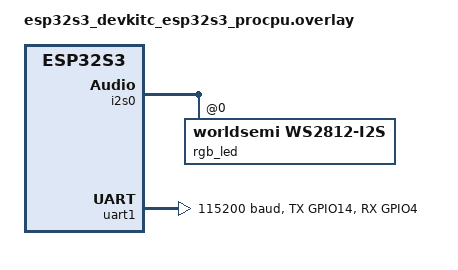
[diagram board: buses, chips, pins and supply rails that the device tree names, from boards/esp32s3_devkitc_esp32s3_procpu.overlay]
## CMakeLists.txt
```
# Copyright (c) 2026 HokyKwan <hokykwan0@gmail.com>
#
# SPDX-License-Identifier: Apache-2.0

cmake_minimum_required(VERSION 3.20.0)

find_package(Zephyr REQUIRED HINTS $ENV{ZEPHYR_BASE})
project(antidash)

target_include_directories(app PRIVATE inc)
target_sources(app PRIVATE
    src/main.c
    src/led.c
    src/led_svc.c
    src/ble.c
    src/rader.c
)
```

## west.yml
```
# Copyright (c) 2026 HokyKwan <hokykwan0@gmail.com>
#
# SPDX-License-Identifier: Apache-2.0

manifest:
  self:
    path: apps/AntiDash

  remotes:
    - name: zephyrproject-rtos
      url-base: https://github.com/zephyrproject-rtos

  projects:
    - name: zephyr
      remote: zephyrproject-rtos
      revision: 3e8f38faf93704249745dbc475052848ce39fdaf
      import: true
```

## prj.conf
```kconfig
# Copyright (c) 2026 HokyKwan <hokykwan0@gmail.com>
#
# SPDX-License-Identifier: Apache-2.0

CONFIG_LOG=y

CONFIG_ESPTOOLPY_FLASHSIZE_16MB=y
CONFIG_ESP_SPIRAM=y
CONFIG_SPIRAM_MODE_OCT=y

CONFIG_LED_STRIP=y
CONFIG_LED_STRIP_LOG_LEVEL_DBG=y

CONFIG_BT=y
CONFIG_BT_PERIPHERAL=y
CONFIG_BT_DEVICE_NAME="Antidash"
CONFIG_BT_MAX_CONN=1
CONFIG_MAIN_STACK_SIZE=4096

CONFIG_UART_INTERRUPT_DRIVEN=y
```

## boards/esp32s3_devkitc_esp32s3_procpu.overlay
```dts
/*
 * Copyright (c) 2026 HokyKwan <hokykwan0@gmail.com>
 *
 * SPDX-License-Identifier: Apache-2.0
 */

#include <zephyr/dt-bindings/led/led.h>
#include <zephyr/dt-bindings/pinctrl/esp32s3-pinctrl.h>

/ {
    aliases {
        rgb-led = &rgb_led;
        rader-uart = &uart1;
    };
};

&flash0 {
    reg = <0x0 DT_SIZE_M(16)>;
    ranges = <0x0 0x0 DT_SIZE_M(16)>;
};

&psram0 {
    size = <DT_SIZE_M(8)>;
};

&i2s0_default {
    group1 {
        pinmux = <I2S0_O_SD_GPIO48>;
    };
};

i2s_led: &i2s0 {
    status = "okay";
    dmas = <&dma 3>;
    dma-names = "tx";

    rgb_led: ws2812@0 {
        compatible = "worldsemi,ws2812-i2s";
        reg = <0>;
        chain-length = <1>;
        color-mapping = <LED_COLOR_ID_GREEN
                            LED_COLOR_ID_RED
                            LED_COLOR_ID_BLUE>;
        reset-delay = <500>;
    };
};

&dma {
    status = "okay";
};

&pinctrl {
    uart1_default: uart1_default {
        group1 {
            pinmux = <UART1_TX_GPIO14>;
            output-high;
        };

        group2 {
            pinmux = <UART1_RX_GPIO4>;
            bias-pull-up;
        };
    };
};

&uart1 {
    status = "okay";
    current-speed = <115200>;
    pinctrl-0 = <&uart1_default>;
    pinctrl-names = "default";
};
```

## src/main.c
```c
/*
 * Copyright (c) 2017 Linaro Limited
 * Copyright (c) 2018 Intel Corporation
 * Copyright (c) 2024 TOKITA Hiroshi
 *
 * SPDX-License-Identifier: Apache-2.0
 */

#include <stdio.h>

#include <zephyr/kernel.h>
#include <zephyr/logging/log.h>

#include "ble.h"
#include "led.h"
#include "led_svc.h"
#include "rader.h"

LOG_MODULE_REGISTER(main);

static const struct ad_led_svc_cb led_cb = {
    .on_rgb = ad_led_set_rgb,
};

static void on_rader_rx(const uint8_t *data, size_t len)
{
    uint8_t rgb[3];

    LOG_INF("[MAIN] received %u bytes: %.*s", (unsigned int)len, (int)len, data);

    if (len > 0U) {
        ad_rader_send(data, len);
        ad_rader_send((const uint8_t *)"\r\n", 2);
    }

    if ((len == 6U) &&
        (sscanf((const char *)data, "%2hhx%2hhx%2hhx", &rgb[0], &rgb[1], &rgb[2]) == 3)) {
        ad_led_svc_notify(rgb[0], rgb[1], rgb[2]);
    }
}

int main(void)
{
    int err = ad_led_svc_init(&led_cb);
    if (err) {
        LOG_ERR("[MAIN] led service init failed (err %d)", err);
    }

    err = ad_ble_init();
    if (err) {
        LOG_ERR("[MAIN] bluetooth init failed (err %d)", err);
    }

    err = ad_rader_init(on_rader_rx);
    if (err) {
        LOG_ERR("[MAIN] radar init failed (err %d)", err);
    }

    return 0;
}
```

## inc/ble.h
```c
/*
 * Copyright (c) 2026 HokyKwan <hokykwan0@gmail.com>
 *
 * SPDX-License-Identifier: Apache-2.0
 */

#ifndef BLE_H
#define BLE_H

int ad_ble_init(void);

#endif
```

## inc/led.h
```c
/*
 * Copyright (c) 2026 HokyKwan <hokykwan0@gmail.com>
 *
 * SPDX-License-Identifier: Apache-2.0
 */

#ifndef LED_H
#define LED_H

#include <stdint.h>

void ad_led_set_rgb(uint8_t r, uint8_t g, uint8_t b);

#endif
```

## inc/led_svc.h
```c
/*
 * Copyright (c) 2026 HokyKwan <hokykwan0@gmail.com>
 *
 * SPDX-License-Identifier: Apache-2.0
 */

#ifndef LED_SVC_H
#define LED_SVC_H

#include <stdint.h>

struct ad_led_svc_cb {
    void (*on_rgb)(uint8_t r, uint8_t g, uint8_t b);
};

int ad_led_svc_init(const struct ad_led_svc_cb *cb);

int ad_led_svc_notify(uint8_t r, uint8_t g, uint8_t b);

#endif
```

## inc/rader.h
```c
/*
 * Copyright (c) 2026 HokyKwan <hokykwan0@gmail.com>
 *
 * SPDX-License-Identifier: Apache-2.0
 */

#ifndef RADER_H
#define RADER_H

#include <stddef.h>
#include <stdint.h>

typedef void (*rader_rx_cb_t)(const uint8_t *data, size_t len);

int ad_rader_init(rader_rx_cb_t on_rx);

int ad_rader_send(const uint8_t *data, size_t len);

#endif
```

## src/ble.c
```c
/*
 * Copyright (c) 2026 HokyKwan <hokykwan0@gmail.com>
 *
 * SPDX-License-Identifier: Apache-2.0
 */

#include "ble.h"

#include <zephyr/bluetooth/bluetooth.h>
#include <zephyr/bluetooth/hci.h>
#include <zephyr/logging/log.h>

LOG_MODULE_REGISTER(ble);

#define DEVICE_NAME CONFIG_BT_DEVICE_NAME
#define DEVICE_NAME_LEN (sizeof(DEVICE_NAME) - 1)

static const struct bt_data ad[] = {
    BT_DATA_BYTES(BT_DATA_FLAGS, (BT_LE_AD_GENERAL | BT_LE_AD_NO_BREDR)),
    BT_DATA(BT_DATA_NAME_COMPLETE, DEVICE_NAME, DEVICE_NAME_LEN),
};

int ad_ble_init(void)
{
    int err;

    err = bt_enable(NULL);
    if (err) {
        LOG_ERR("[BLE] init failed (err %d)", err);
        return err;
    }

    LOG_INF("[BLE] initialized");

    err = bt_le_adv_start(BT_LE_ADV_CONN_FAST_1, ad, ARRAY_SIZE(ad), NULL, 0);
    if (err) {
        LOG_ERR("[BLE] advertising failed to start (err %d)", err);
        return err;
    }

    LOG_INF("[BLE] advertising started as %s", DEVICE_NAME);
    return 0;
}
```

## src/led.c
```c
/*
 * Copyright (c) 2026 HokyKwan <hokykwan0@gmail.com>
 *
 * SPDX-License-Identifier: Apache-2.0
 */

#include "led.h"

#include <zephyr/kernel.h>
#include <zephyr/device.h>
#include <zephyr/drivers/led_strip.h>
#include <zephyr/logging/log.h>
#include <zephyr/sys/util.h>

LOG_MODULE_REGISTER(led);

#define STRIP_NODE DT_ALIAS(rgb_led)

#if DT_NODE_HAS_PROP(DT_ALIAS(rgb_led), chain_length)
#define STRIP_NUM_PIXELS DT_PROP(DT_ALIAS(rgb_led), chain_length)
#else
#error Unable to determine length of LED strip
#endif

#define RGB(_r, _g, _b) { .r = (_r), .g = (_g), .b = (_b) }

static struct led_rgb pixels[STRIP_NUM_PIXELS];
static struct led_rgb current = RGB(0x00, 0x00, 0x00);
static const struct device *const strip = DEVICE_DT_GET(STRIP_NODE);
static K_MUTEX_DEFINE(lock);

static void set_rgb(void)
{
    int err;

    for (size_t i = 0; i < ARRAY_SIZE(pixels); i++) {
        pixels[i] = current;
    }

    err = led_strip_update_rgb(strip, pixels, STRIP_NUM_PIXELS);
    if (err != 0) {
        LOG_ERR("[LED] couldn't update strip: %d", err);
    }
}

void ad_led_set_rgb(uint8_t r, uint8_t g, uint8_t b)
{
    if (!device_is_ready(strip)) {
        LOG_ERR("[LED] strip device %s is not ready", strip->name);
        return;
    }

    k_mutex_lock(&lock, K_FOREVER);
    current.r = r;
    current.g = g;
    current.b = b;
    set_rgb();
    k_mutex_unlock(&lock);
}
```

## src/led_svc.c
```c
/*
 * Copyright (c) 2026 HokyKwan <hokykwan0@gmail.com>
 *
 * SPDX-License-Identifier: Apache-2.0
 */

#include "led_svc.h"

#include <errno.h>

#include <zephyr/bluetooth/gatt.h>
#include <zephyr/bluetooth/uuid.h>
#include <zephyr/logging/log.h>

LOG_MODULE_REGISTER(led_svc);

#define BT_UUID_LED_SERVICE_VAL \
    BT_UUID_128_ENCODE(0x6e400001, 0xb5a3, 0xf393, 0xe0a9, 0xe50e24dcca9e)
#define BT_UUID_LED_RGB_VAL \
    BT_UUID_128_ENCODE(0x6e400002, 0xb5a3, 0xf393, 0xe0a9, 0xe50e24dcca9e)

static const struct bt_uuid_128 led_svc_uuid = BT_UUID_INIT_128(BT_UUID_LED_SERVICE_VAL);
static const struct bt_uuid_128 led_rgb_uuid = BT_UUID_INIT_128(BT_UUID_LED_RGB_VAL);

static uint8_t rgb[3];
static struct ad_led_svc_cb led_cb;

static int on_notify(uint8_t r, uint8_t g, uint8_t b);

static ssize_t on_read(struct bt_conn *conn, const struct bt_gatt_attr *attr,
            void *buf, uint16_t len, uint16_t offset)
{
    return bt_gatt_attr_read(conn, attr, buf, len, offset, rgb, sizeof(rgb));
}

static ssize_t on_write(struct bt_conn *conn, const struct bt_gatt_attr *attr,
             const void *buf, uint16_t len, uint16_t offset, uint8_t flags)
{
    const uint8_t *data = buf;

    ARG_UNUSED(conn);
    ARG_UNUSED(attr);
    ARG_UNUSED(flags);

    if (offset != 0) {
        return BT_GATT_ERR(BT_ATT_ERR_INVALID_OFFSET);
    }

    if (len != sizeof(rgb)) {
        return BT_GATT_ERR(BT_ATT_ERR_INVALID_ATTRIBUTE_LEN);
    }

    (void)on_notify(data[0], data[1], data[2]);
    return len;
}

static void on_ccc_cfg_changed(const struct bt_gatt_attr *attr, uint16_t value)
{
    ARG_UNUSED(attr);

    LOG_INF("[LED SVC] notify %s", (value == BT_GATT_CCC_NOTIFY) ? "enabled" : "disabled");
}

BT_GATT_SERVICE_DEFINE(led_svc,
    BT_GATT_PRIMARY_SERVICE(&led_svc_uuid),
    BT_GATT_CHARACTERISTIC(&led_rgb_uuid.uuid,
                   BT_GATT_CHRC_READ | BT_GATT_CHRC_WRITE | BT_GATT_CHRC_NOTIFY,
                   BT_GATT_PERM_READ | BT_GATT_PERM_WRITE,
                   on_read, on_write, NULL),
    BT_GATT_CCC(on_ccc_cfg_changed, BT_GATT_PERM_READ | BT_GATT_PERM_WRITE),
);

static int on_notify(uint8_t r, uint8_t g, uint8_t b)
{
    const struct bt_gatt_attr *attr;
    int err;

    rgb[0] = r;
    rgb[1] = g;
    rgb[2] = b;

    if (led_cb.on_rgb != NULL) {
        led_cb.on_rgb(r, g, b);
    }

    attr = bt_gatt_find_by_uuid(led_svc.attrs, (uint16_t)led_svc.attr_count,
                    &led_rgb_uuid.uuid);
    if (attr == NULL) {
        return -ENOENT;
    }

    err = bt_gatt_notify(NULL, attr, rgb, sizeof(rgb));
    if (err == -ENOTCONN) {
        return 0;
    }

    if (err != 0) {
        LOG_WRN("[LED SVC] notify failed (err %d)", err);
    }

    return err;
}

int ad_led_svc_init(const struct ad_led_svc_cb *cb)
{
    if (cb == NULL) {
        return -EINVAL;
    }

    led_cb = *cb;
    return 0;
}

int ad_led_svc_notify(uint8_t r, uint8_t g, uint8_t b)
{
    return on_notify(r, g, b);
}
```

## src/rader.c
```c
/*
 * Copyright (c) 2026 HokyKwan <hokykwan0@gmail.com>
 *
 * SPDX-License-Identifier: Apache-2.0
 */

#include "rader.h"

#include <errno.h>
#include <string.h>

#include <zephyr/device.h>
#include <zephyr/drivers/uart.h>
#include <zephyr/kernel.h>
#include <zephyr/logging/log.h>

LOG_MODULE_REGISTER(rader_svc);

#define RADER_NODE DT_ALIAS(rader_uart)
#define UART_LINE_MAX 128
#define UART_QUEUE_DEPTH 8

K_MSGQ_DEFINE(rx_q, UART_LINE_MAX, UART_QUEUE_DEPTH, 4);

static const struct device *const rader_dev = DEVICE_DT_GET(RADER_NODE);
static rader_rx_cb_t rx_cb;
static uint8_t rx_buf[UART_LINE_MAX];
static size_t rx_len;
static bool started;

K_MUTEX_DEFINE(tx_lock);

static void deliver(void)
{
    if (rx_len == 0U) {
        return;
    }

    rx_buf[rx_len] = '\0';

    if (k_msgq_put(&rx_q, rx_buf, K_NO_WAIT) != 0) {
        LOG_WRN("RX queue full, dropped %u bytes", (unsigned int)rx_len);
    }

    rx_len = 0U;
}

static void uart_isr(const struct device *dev, void *user_data)
{
    uint8_t byte;

    ARG_UNUSED(user_data);

    uart_irq_update(dev);

    if (uart_irq_rx_ready(dev) <= 0) {
        return;
    }

    while (uart_fifo_read(dev, &byte, 1) == 1) {
        if ((byte == '\n') || (byte == '\r')) {
            deliver();
            continue;
        }

        if (rx_len >= (UART_LINE_MAX - 1U)) {
            deliver();
        }

        rx_buf[rx_len++] = byte;
    }
}

static void uart_thread(void *a, void *b, void *c)
{
    uint8_t line[UART_LINE_MAX];

    ARG_UNUSED(a);
    ARG_UNUSED(b);
    ARG_UNUSED(c);

    while (k_msgq_get(&rx_q, line, K_FOREVER) == 0) {
        size_t len = strnlen((char *)line, UART_LINE_MAX - 1U);

        LOG_INF("[RADER] received %u bytes: %.*s", (unsigned int)len, (int)len, line);

        if (rx_cb != NULL) {
            rx_cb(line, len);
        }
    }
}

K_THREAD_DEFINE(uart_tid, 2048, uart_thread, NULL, NULL, NULL, 7, 0, 0);

int ad_rader_init(rader_rx_cb_t on_rx)
{
    int err;

    if (!device_is_ready(rader_dev)) {
        LOG_ERR("[RADER] device %s is not ready", rader_dev->name);
        return -ENODEV;
    }

    rx_cb = on_rx;

    err = uart_irq_callback_user_data_set(rader_dev, uart_isr, NULL);
    if (err != 0) {
        LOG_ERR("[RADER] callback setup failed (err %d)", err);
        return err;
    }

    uart_irq_rx_enable(rader_dev);
    started = true;
    LOG_INF("[RADER] ready, RX GPIO4 TX GPIO14, 115200 8N1");
    return 0;
}

int ad_rader_send(const uint8_t *data, size_t len)
{
    if (data == NULL) {
        return -EINVAL;
    }

    if (len == 0U) {
        return 0;
    }

    if (!started || !device_is_ready(rader_dev)) {
        return -ENODEV;
    }

    if (k_is_in_isr()) {
        return -EPERM;
    }

    k_mutex_lock(&tx_lock, K_FOREVER);

    for (size_t i = 0U; i < len; i++) {
        uart_poll_out(rader_dev, data[i]);
    }

    k_mutex_unlock(&tx_lock);
    return 0;
}
```
